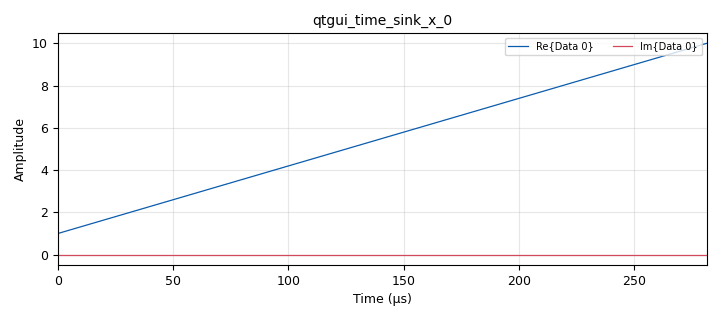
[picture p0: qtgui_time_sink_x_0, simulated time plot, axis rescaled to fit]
<?xml version='1.0' encoding='utf-8'?>
<?grc format='1' created='3.7.11'?>
<flow_graph>
<block>
<key>options</key>
<param><key>id</key><value>top_block</value></param>
<param><key>generate_options</key><value>qt_gui</value></param>
</block>
<block>
<key>variable</key>
<param><key>id</key><value>samp_rate</value></param>
<param><key>value</key><value>32000</value></param>
</block>
<block>
<key>blocks_file_sink</key>
<param><key>id</key><value>blocks_file_sink_0</value></param>
<param><key>file</key><value>/home/zinka/tes</value></param>
<param><key>type</key><value>complex</value></param>
</block>
<block>
<key>blocks_throttle</key>
<param><key>id</key><value>blocks_throttle_0</value></param>
<param><key>samples_per_second</key><value>samp_rate</value></param>
<param><key>type</key><value>complex</value></param>
</block>
<block>
<key>blocks_vector_source_x</key>
<param><key>id</key><value>myblock</value></param>
<param><key>type</key><value>complex</value></param>
<param><key>repeat</key><value>False</value></param>
<param><key>vector</key><value>(1,2,3,4,5,6,7,8,9,10)</value></param>
</block>
<block>
<key>qtgui_time_sink_x</key>
<param><key>id</key><value>qtgui_time_sink_x_0</value></param>
<param><key>color1</key><value>"blue"</value></param>
<param><key>label1</key><value></value></param>
<param><key>color2</key><value>"red"</value></param>
<param><key>label2</key><value></value></param>
<param><key>size</key><value>1024</value></param>
<param><key>srate</key><value>samp_rate</value></param>
<param><key>type</key><value>complex</value></param>
</block>
<connection><source_block_id>blocks_throttle_0</source_block_id><sink_block_id>blocks_file_sink_0</sink_block_id><source_key>0</source_key><sink_key>0</sink_key></connection>
<connection><source_block_id>blocks_throttle_0</source_block_id><sink_block_id>qtgui_time_sink_x_0</sink_block_id><source_key>0</source_key><sink_key>0</sink_key></connection>
<connection><source_block_id>myblock</source_block_id><sink_block_id>blocks_throttle_0</sink_block_id><source_key>0</source_key><sink_key>0</sink_key></connection>
</flow_graph>
